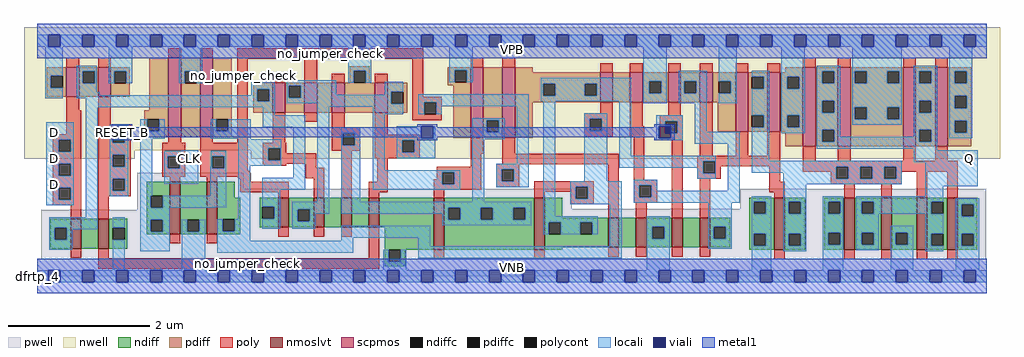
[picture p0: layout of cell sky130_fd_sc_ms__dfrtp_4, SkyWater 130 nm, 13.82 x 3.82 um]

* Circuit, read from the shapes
.subckt sky130_fd_sc_ms__dfrtp_4 CLK D RESET_B VGND VNB VPB VPWR Q
XM1 n1 D n2 VNB sky130_fd_pr__nfet_01v8_lvt w=0.42 l=0.15
XM2 VGND RESET_B n1 VNB sky130_fd_pr__nfet_01v8_lvt w=0.42 l=0.15
XM3 VGND CLK n3 VNB sky130_fd_pr__nfet_01v8_lvt w=0.74 l=0.15
XM4 n4 n3 VGND VNB sky130_fd_pr__nfet_01v8_lvt w=0.74 l=0.15
XM5 n5 n3 n2 VNB sky130_fd_pr__nfet_01v8_lvt w=0.42 l=0.15
XM6 n6 n4 n5 VNB sky130_fd_pr__nfet_01v8_lvt w=0.42 l=0.15
XM7 n7 n8 n6 VNB sky130_fd_pr__nfet_01v8_lvt w=0.42 l=0.15
XM8 VGND RESET_B n7 VNB sky130_fd_pr__nfet_01v8_lvt w=0.42 l=0.15
XM9 n8 n5 VGND VNB sky130_fd_pr__nfet_01v8_lvt w=0.74 l=0.15
XM10 n9 n4 n8 VNB sky130_fd_pr__nfet_01v8_lvt w=0.74 l=0.15
XM11 n10 n3 n9 VNB sky130_fd_pr__nfet_01v8_lvt w=0.42 l=0.15
XM12 VGND n11 n10 VNB sky130_fd_pr__nfet_01v8_lvt w=0.42 l=0.15
XM13 n12 RESET_B VGND VNB sky130_fd_pr__nfet_01v8_lvt w=0.42 l=0.15
XM14 n11 n9 n12 VNB sky130_fd_pr__nfet_01v8_lvt w=0.42 l=0.15
XM15 n13 n9 VGND VNB sky130_fd_pr__nfet_01v8_lvt w=0.74 l=0.15
XM16 Q n13 VGND VNB sky130_fd_pr__nfet_01v8_lvt w=0.74 l=0.15 m=4
XM17 n2 D VPWR VPB sky130_fd_pr__pfet_01v8 w=0.42 l=0.18
XM18 VPWR RESET_B n2 VPB sky130_fd_pr__pfet_01v8 w=0.42 l=0.18
XM19 VPWR CLK n3 VPB sky130_fd_pr__pfet_01v8 w=1.12 l=0.18
XM20 n4 n3 VPWR VPB sky130_fd_pr__pfet_01v8 w=1.12 l=0.18
XM21 n5 n4 n2 VPB sky130_fd_pr__pfet_01v8 w=0.42 l=0.18
XM22 n14 n3 n5 VPB sky130_fd_pr__pfet_01v8 w=0.42 l=0.18
XM23 VPWR n8 n14 VPB sky130_fd_pr__pfet_01v8 w=0.42 l=0.18
XM24 n5 RESET_B VPWR VPB sky130_fd_pr__pfet_01v8 w=0.42 l=0.18
XM25 n8 n5 VPWR VPB sky130_fd_pr__pfet_01v8 w=1 l=0.18
XM26 n9 n3 n8 VPB sky130_fd_pr__pfet_01v8 w=1 l=0.18
XM27 n15 n4 n9 VPB sky130_fd_pr__pfet_01v8 w=0.42 l=0.18
XM28 VPWR n11 n15 VPB sky130_fd_pr__pfet_01v8 w=0.42 l=0.18
XM29 n11 RESET_B VPWR VPB sky130_fd_pr__pfet_01v8 w=0.42 l=0.18
XM30 VPWR n9 n11 VPB sky130_fd_pr__pfet_01v8 w=0.42 l=0.18
XM31 n13 n9 VPWR VPB sky130_fd_pr__pfet_01v8 w=0.84 l=0.18 m=2
XM32 Q n13 VPWR VPB sky130_fd_pr__pfet_01v8 w=1.12 l=0.18 m=4
.ends

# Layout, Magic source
magic
tech sky130A
magscale 1 2
<< nwell >>
rect -38 356 2726 704
rect -38 332 275 356
rect 604 332 2726 356
<< pwell >>
rect 283 248 585 293
rect 283 191 1513 248
rect 1990 191 2687 248
rect 283 188 2687 191
rect 11 49 2687 188
rect 0 0 2688 49
<< scpmos >>
rect 82 508 118 592
rect 172 508 208 592
rect 371 395 407 619
rect 461 395 497 619
rect 666 463 702 547
rect 756 463 792 547
rect 834 463 870 547
rect 956 463 992 547
rect 1227 392 1263 592
rect 1317 392 1353 592
rect 1594 493 1630 577
rect 1678 493 1714 577
rect 1786 493 1822 577
rect 1876 493 1912 577
rect 1977 409 2013 577
rect 2067 409 2103 577
rect 2168 368 2204 592
rect 2267 368 2303 592
rect 2452 368 2488 592
rect 2542 368 2578 592
<< nmoslvt >>
rect 94 78 124 162
rect 172 78 202 162
rect 375 119 405 267
rect 479 119 509 267
rect 682 138 712 222
rect 782 138 812 222
rect 860 138 890 222
rect 938 138 968 222
rect 1122 74 1152 222
rect 1407 74 1437 222
rect 1617 81 1647 165
rect 1695 81 1725 165
rect 1797 81 1827 165
rect 1875 81 1905 165
rect 2087 74 2117 222
rect 2285 74 2315 222
rect 2390 74 2420 222
rect 2490 74 2520 222
rect 2576 74 2606 222
<< ndiff >>
rect 309 228 375 267
rect 309 194 321 228
rect 355 194 375 228
rect 37 137 94 162
rect 37 103 49 137
rect 83 103 94 137
rect 37 78 94 103
rect 124 78 172 162
rect 202 137 255 162
rect 202 103 213 137
rect 247 103 255 137
rect 309 160 375 194
rect 309 126 321 160
rect 355 126 375 160
rect 309 119 375 126
rect 405 160 479 267
rect 405 126 425 160
rect 459 126 479 160
rect 405 119 479 126
rect 509 222 559 267
rect 509 161 575 222
rect 509 127 525 161
rect 559 127 575 161
rect 629 197 682 222
rect 629 163 637 197
rect 671 163 682 197
rect 629 138 682 163
rect 712 189 782 222
rect 712 155 737 189
rect 771 155 782 189
rect 712 138 782 155
rect 812 138 860 222
rect 890 138 938 222
rect 968 138 1122 222
rect 509 119 575 127
rect 309 118 360 119
rect 202 78 255 103
rect 420 118 464 119
rect 983 74 1122 138
rect 1152 194 1407 222
rect 1152 160 1163 194
rect 1197 160 1255 194
rect 1289 160 1348 194
rect 1382 160 1407 194
rect 1152 74 1407 160
rect 1437 165 1487 222
rect 2016 210 2087 222
rect 2016 176 2028 210
rect 2062 176 2087 210
rect 1437 153 1617 165
rect 1437 119 1448 153
rect 1482 119 1537 153
rect 1571 119 1617 153
rect 1437 81 1617 119
rect 1647 81 1695 165
rect 1725 140 1797 165
rect 1725 106 1741 140
rect 1775 106 1797 140
rect 1725 81 1797 106
rect 1827 81 1875 165
rect 1905 140 1962 165
rect 1905 106 1916 140
rect 1950 106 1962 140
rect 1905 81 1962 106
rect 2016 120 2087 176
rect 2016 86 2028 120
rect 2062 86 2087 120
rect 1437 74 1487 81
rect 983 40 995 74
rect 1029 40 1041 74
rect 2016 74 2087 86
rect 2117 210 2174 222
rect 2117 176 2128 210
rect 2162 176 2174 210
rect 2117 120 2174 176
rect 2117 86 2128 120
rect 2162 86 2174 120
rect 2117 74 2174 86
rect 2228 210 2285 222
rect 2228 176 2240 210
rect 2274 176 2285 210
rect 2228 123 2285 176
rect 2228 89 2240 123
rect 2274 89 2285 123
rect 2228 74 2285 89
rect 2315 210 2390 222
rect 2315 176 2335 210
rect 2369 176 2390 210
rect 2315 123 2390 176
rect 2315 89 2335 123
rect 2369 89 2390 123
rect 2315 74 2390 89
rect 2420 123 2490 222
rect 2420 89 2431 123
rect 2465 89 2490 123
rect 2420 74 2490 89
rect 2520 210 2576 222
rect 2520 176 2531 210
rect 2565 176 2576 210
rect 2520 120 2576 176
rect 2520 86 2531 120
rect 2565 86 2576 120
rect 2520 74 2576 86
rect 2606 204 2661 222
rect 2606 170 2617 204
rect 2651 170 2661 204
rect 2606 120 2661 170
rect 2606 86 2617 120
rect 2651 86 2661 120
rect 2606 74 2661 86
rect 983 28 1041 40
<< pdiff >>
rect 27 567 82 592
rect 27 533 38 567
rect 72 533 82 567
rect 27 508 82 533
rect 118 580 172 592
rect 118 546 128 580
rect 162 546 172 580
rect 118 508 172 546
rect 208 580 262 592
rect 208 546 218 580
rect 252 546 262 580
rect 208 508 262 546
rect 316 470 371 619
rect 303 444 371 470
rect 303 410 311 444
rect 345 410 371 444
rect 303 395 371 410
rect 407 580 461 619
rect 407 546 417 580
rect 451 546 461 580
rect 407 395 461 546
rect 497 444 551 619
rect 497 410 507 444
rect 541 410 551 444
rect 497 395 551 410
rect 885 582 941 594
rect 885 548 896 582
rect 930 548 941 582
rect 885 547 941 548
rect 611 529 666 547
rect 611 495 622 529
rect 656 495 666 529
rect 611 463 666 495
rect 702 539 756 547
rect 702 505 712 539
rect 746 505 756 539
rect 702 463 756 505
rect 792 463 834 547
rect 870 463 956 547
rect 992 522 1047 547
rect 992 488 1002 522
rect 1036 488 1047 522
rect 992 463 1047 488
rect 1162 583 1227 592
rect 1162 549 1182 583
rect 1216 549 1227 583
rect 1162 540 1227 549
rect 1177 392 1227 540
rect 1263 442 1317 592
rect 1263 408 1273 442
rect 1307 408 1317 442
rect 1263 392 1317 408
rect 1353 577 1403 592
rect 2118 577 2168 592
rect 1353 545 1594 577
rect 1353 511 1432 545
rect 1466 511 1550 545
rect 1584 511 1594 545
rect 1353 493 1594 511
rect 1630 493 1678 577
rect 1714 552 1786 577
rect 1714 518 1732 552
rect 1766 518 1786 552
rect 1714 493 1786 518
rect 1822 552 1876 577
rect 1822 518 1832 552
rect 1866 518 1876 552
rect 1822 493 1876 518
rect 1912 552 1977 577
rect 1912 518 1930 552
rect 1964 518 1977 552
rect 1912 493 1977 518
rect 1353 392 1403 493
rect 1927 409 1977 493
rect 2013 565 2067 577
rect 2013 531 2023 565
rect 2057 531 2067 565
rect 2013 455 2067 531
rect 2013 421 2023 455
rect 2057 421 2067 455
rect 2013 409 2067 421
rect 2103 565 2168 577
rect 2103 531 2123 565
rect 2157 531 2168 565
rect 2103 455 2168 531
rect 2103 421 2123 455
rect 2157 421 2168 455
rect 2103 409 2168 421
rect 2118 368 2168 409
rect 2204 580 2267 592
rect 2204 546 2223 580
rect 2257 546 2267 580
rect 2204 497 2267 546
rect 2204 463 2223 497
rect 2257 463 2267 497
rect 2204 414 2267 463
rect 2204 380 2223 414
rect 2257 380 2267 414
rect 2204 368 2267 380
rect 2303 580 2452 592
rect 2303 546 2314 580
rect 2348 546 2407 580
rect 2441 546 2452 580
rect 2303 478 2452 546
rect 2303 444 2314 478
rect 2348 444 2407 478
rect 2441 444 2452 478
rect 2303 368 2452 444
rect 2488 580 2542 592
rect 2488 546 2498 580
rect 2532 546 2542 580
rect 2488 497 2542 546
rect 2488 463 2498 497
rect 2532 463 2542 497
rect 2488 414 2542 463
rect 2488 380 2498 414
rect 2532 380 2542 414
rect 2488 368 2542 380
rect 2578 580 2644 592
rect 2578 546 2598 580
rect 2632 546 2644 580
rect 2578 510 2644 546
rect 2578 476 2598 510
rect 2632 476 2644 510
rect 2578 440 2644 476
rect 2578 406 2598 440
rect 2632 406 2644 440
rect 2578 368 2644 406
<< ndiffc >>
rect 321 194 355 228
rect 49 103 83 137
rect 213 103 247 137
rect 321 126 355 160
rect 425 126 459 160
rect 525 127 559 161
rect 637 163 671 197
rect 737 155 771 189
rect 1163 160 1197 194
rect 1255 160 1289 194
rect 1348 160 1382 194
rect 2028 176 2062 210
rect 1448 119 1482 153
rect 1537 119 1571 153
rect 1741 106 1775 140
rect 1916 106 1950 140
rect 2028 86 2062 120
rect 995 40 1029 74
rect 2128 176 2162 210
rect 2128 86 2162 120
rect 2240 176 2274 210
rect 2240 89 2274 123
rect 2335 176 2369 210
rect 2335 89 2369 123
rect 2431 89 2465 123
rect 2531 176 2565 210
rect 2531 86 2565 120
rect 2617 170 2651 204
rect 2617 86 2651 120
<< pdiffc >>
rect 38 533 72 567
rect 128 546 162 580
rect 218 546 252 580
rect 311 410 345 444
rect 417 546 451 580
rect 507 410 541 444
rect 896 548 930 582
rect 622 495 656 529
rect 712 505 746 539
rect 1002 488 1036 522
rect 1182 549 1216 583
rect 1273 408 1307 442
rect 1432 511 1466 545
rect 1550 511 1584 545
rect 1732 518 1766 552
rect 1832 518 1866 552
rect 1930 518 1964 552
rect 2023 531 2057 565
rect 2023 421 2057 455
rect 2123 531 2157 565
rect 2123 421 2157 455
rect 2223 546 2257 580
rect 2223 463 2257 497
rect 2223 380 2257 414
rect 2314 546 2348 580
rect 2407 546 2441 580
rect 2314 444 2348 478
rect 2407 444 2441 478
rect 2498 546 2532 580
rect 2498 463 2532 497
rect 2498 380 2532 414
rect 2598 546 2632 580
rect 2598 476 2632 510
rect 2598 406 2632 440
<< poly >>
rect 371 619 407 645
rect 461 619 497 645
rect 82 592 118 618
rect 172 592 208 618
rect 82 470 118 508
rect 82 402 124 470
rect 44 386 124 402
rect 44 352 60 386
rect 94 352 124 386
rect 44 318 124 352
rect 44 284 60 318
rect 94 284 124 318
rect 44 250 124 284
rect 44 216 60 250
rect 94 216 124 250
rect 44 200 124 216
rect 94 162 124 200
rect 172 428 208 508
rect 172 412 264 428
rect 172 378 214 412
rect 248 378 264 412
rect 566 615 1092 645
rect 172 344 264 378
rect 371 377 407 395
rect 461 377 497 395
rect 566 377 596 615
rect 666 547 702 573
rect 756 547 792 615
rect 834 547 870 573
rect 956 547 992 573
rect 1062 508 1092 615
rect 1227 592 1263 618
rect 1317 592 1353 618
rect 1062 492 1145 508
rect 666 378 702 463
rect 756 437 792 463
rect 834 421 870 463
rect 834 405 914 421
rect 172 310 214 344
rect 248 310 264 344
rect 172 276 264 310
rect 353 339 419 377
rect 353 305 369 339
rect 403 305 419 339
rect 353 282 419 305
rect 461 339 596 377
rect 461 305 495 339
rect 529 305 596 339
rect 638 362 704 378
rect 638 328 654 362
rect 688 348 704 362
rect 834 371 864 405
rect 898 371 914 405
rect 834 355 914 371
rect 956 400 992 463
rect 1062 458 1095 492
rect 1129 458 1145 492
rect 1062 442 1145 458
rect 956 384 1083 400
rect 1594 577 1630 603
rect 1678 577 1714 603
rect 1786 577 1822 603
rect 1876 577 1912 603
rect 1977 577 2013 603
rect 2067 577 2103 603
rect 2168 592 2204 618
rect 2267 592 2303 618
rect 2452 592 2488 618
rect 2542 592 2578 618
rect 1594 461 1630 493
rect 1548 445 1630 461
rect 1548 411 1564 445
rect 1598 411 1630 445
rect 1548 395 1630 411
rect 1678 425 1714 493
rect 1786 455 1822 493
rect 1762 439 1828 455
rect 1678 395 1719 425
rect 688 328 790 348
rect 638 318 790 328
rect 638 317 704 318
rect 642 312 704 317
rect 461 299 596 305
rect 760 307 790 318
rect 461 292 600 299
rect 461 282 604 292
rect 172 242 214 276
rect 248 242 264 276
rect 375 267 405 282
rect 479 267 509 282
rect 568 279 604 282
rect 570 278 604 279
rect 571 276 604 278
rect 760 277 812 307
rect 574 267 604 276
rect 172 226 264 242
rect 172 162 202 226
rect 574 237 712 267
rect 682 222 712 237
rect 782 222 812 277
rect 860 222 890 355
rect 956 350 1033 384
rect 1067 350 1083 384
rect 956 334 1083 350
rect 1227 346 1263 392
rect 1317 347 1353 392
rect 962 267 992 334
rect 1227 310 1257 346
rect 1317 318 1647 347
rect 1131 294 1257 310
rect 1131 274 1147 294
rect 938 237 992 267
rect 1122 260 1147 274
rect 1181 260 1257 294
rect 1122 244 1257 260
rect 1299 317 1647 318
rect 1299 302 1365 317
rect 1299 268 1315 302
rect 1349 268 1365 302
rect 1299 252 1365 268
rect 1407 253 1575 269
rect 938 222 968 237
rect 1122 222 1152 244
rect 1407 239 1525 253
rect 1407 222 1437 239
rect 375 93 405 119
rect 479 93 509 119
rect 682 112 712 138
rect 782 112 812 138
rect 860 112 890 138
rect 94 52 124 78
rect 172 51 202 78
rect 938 51 968 138
rect 172 21 968 51
rect 1509 219 1525 239
rect 1559 219 1575 253
rect 1509 203 1575 219
rect 1617 165 1647 317
rect 1689 273 1719 395
rect 1762 405 1778 439
rect 1812 405 1828 439
rect 1762 389 1828 405
rect 1689 257 1755 273
rect 1689 223 1705 257
rect 1739 223 1755 257
rect 1689 207 1755 223
rect 1695 165 1725 207
rect 1797 165 1827 389
rect 1876 341 1912 493
rect 1977 341 2013 409
rect 2067 341 2103 409
rect 1869 325 2103 341
rect 1869 291 1885 325
rect 1919 311 2103 325
rect 1919 291 1935 311
rect 1869 275 1935 291
rect 1875 165 1905 275
rect 2073 267 2103 311
rect 2168 326 2204 368
rect 2267 326 2303 368
rect 2452 326 2488 368
rect 2542 326 2578 368
rect 2168 310 2606 326
rect 2168 296 2262 310
rect 2246 276 2262 296
rect 2296 276 2330 310
rect 2364 276 2398 310
rect 2432 296 2606 310
rect 2432 276 2448 296
rect 2073 237 2117 267
rect 2246 260 2448 276
rect 2087 222 2117 237
rect 2285 222 2315 260
rect 2390 222 2420 260
rect 2490 222 2520 296
rect 2576 222 2606 296
rect 1122 48 1152 74
rect 1407 48 1437 74
rect 1617 55 1647 81
rect 1695 55 1725 81
rect 1797 55 1827 81
rect 1875 55 1905 81
rect 2087 48 2117 74
rect 2285 48 2315 74
rect 2390 48 2420 74
rect 2490 48 2520 74
rect 2576 48 2606 74
<< polycont >>
rect 60 352 94 386
rect 60 284 94 318
rect 60 216 94 250
rect 214 378 248 412
rect 214 310 248 344
rect 369 305 403 339
rect 495 305 529 339
rect 654 328 688 362
rect 864 371 898 405
rect 1095 458 1129 492
rect 1564 411 1598 445
rect 214 242 248 276
rect 1033 350 1067 384
rect 1147 260 1181 294
rect 1315 268 1349 302
rect 1525 219 1559 253
rect 1778 405 1812 439
rect 1705 223 1739 257
rect 1885 291 1919 325
rect 2262 276 2296 310
rect 2330 276 2364 310
rect 2398 276 2432 310
<< locali >>
rect 0 649 31 683
rect 65 649 127 683
rect 161 649 223 683
rect 257 649 319 683
rect 353 649 415 683
rect 449 649 511 683
rect 545 649 607 683
rect 641 649 703 683
rect 737 649 799 683
rect 833 649 895 683
rect 929 649 991 683
rect 1025 649 1087 683
rect 1121 649 1183 683
rect 1217 649 1279 683
rect 1313 649 1375 683
rect 1409 649 1471 683
rect 1505 649 1567 683
rect 1601 649 1663 683
rect 1697 649 1759 683
rect 1793 649 1855 683
rect 1889 649 1951 683
rect 1985 649 2047 683
rect 2081 649 2143 683
rect 2177 649 2239 683
rect 2273 649 2335 683
rect 2369 649 2431 683
rect 2465 649 2527 683
rect 2561 649 2623 683
rect 2657 649 2688 683
rect 22 567 72 649
rect 22 533 38 567
rect 22 504 72 533
rect 112 580 168 596
rect 112 546 128 580
rect 162 546 168 580
rect 202 580 268 649
rect 202 546 218 580
rect 252 546 268 580
rect 401 580 467 649
rect 401 546 417 580
rect 451 546 467 580
rect 880 582 946 649
rect 112 521 168 546
rect 606 529 672 551
rect 112 512 177 521
rect 606 512 622 529
rect 112 504 622 512
rect 137 495 622 504
rect 656 495 672 529
rect 137 478 672 495
rect 706 539 846 555
rect 880 548 896 582
rect 930 548 946 582
rect 1166 583 1233 649
rect 706 505 712 539
rect 746 514 846 539
rect 983 522 1036 551
rect 1166 549 1182 583
rect 1216 549 1233 583
rect 983 514 1002 522
rect 746 505 1002 514
rect 706 489 1002 505
rect 25 386 103 436
rect 25 352 60 386
rect 94 352 103 386
rect 25 318 103 352
rect 25 284 60 318
rect 94 284 103 318
rect 25 250 103 284
rect 25 216 60 250
rect 94 216 103 250
rect 25 200 103 216
rect 137 166 171 478
rect 638 455 672 478
rect 793 488 1002 489
rect 1425 545 1682 561
rect 793 480 1036 488
rect 205 424 257 428
rect 205 412 223 424
rect 205 378 214 412
rect 248 378 257 390
rect 205 344 257 378
rect 205 310 214 344
rect 248 310 257 344
rect 205 276 257 310
rect 205 242 214 276
rect 248 242 257 276
rect 205 226 257 242
rect 291 410 311 444
rect 345 410 361 444
rect 291 389 361 410
rect 491 410 507 444
rect 541 410 604 444
rect 638 421 759 455
rect 491 389 604 410
rect 291 228 325 389
rect 569 387 604 389
rect 569 362 691 387
rect 409 355 455 356
rect 359 339 455 355
rect 359 305 369 339
rect 403 305 455 339
rect 491 339 535 355
rect 491 310 495 339
rect 359 262 455 305
rect 489 305 495 310
rect 529 305 535 339
rect 489 228 535 305
rect 291 194 321 228
rect 355 195 535 228
rect 569 328 654 362
rect 688 328 691 362
rect 569 312 691 328
rect 355 194 499 195
rect 33 137 171 166
rect 33 103 49 137
rect 83 132 171 137
rect 213 137 247 166
rect 83 103 99 132
rect 33 74 99 103
rect 213 17 247 103
rect 291 160 375 194
rect 569 161 603 312
rect 725 278 759 421
rect 291 126 321 160
rect 355 126 375 160
rect 291 70 375 126
rect 409 126 425 160
rect 459 126 475 160
rect 409 17 475 126
rect 509 127 525 161
rect 559 127 603 161
rect 637 244 759 278
rect 637 197 687 244
rect 793 210 827 480
rect 949 459 1036 480
rect 1079 492 1391 515
rect 1425 511 1432 545
rect 1466 511 1550 545
rect 1584 511 1682 545
rect 1425 495 1682 511
rect 671 163 687 197
rect 637 134 687 163
rect 721 189 827 210
rect 721 155 737 189
rect 771 176 827 189
rect 861 405 914 421
rect 861 371 864 405
rect 898 371 914 405
rect 861 210 914 371
rect 949 300 983 459
rect 1079 458 1095 492
rect 1129 481 1391 492
rect 1129 458 1145 481
rect 1231 442 1323 447
rect 1017 390 1087 424
rect 1121 390 1127 424
rect 1017 384 1127 390
rect 1017 350 1033 384
rect 1067 350 1127 384
rect 1017 334 1127 350
rect 1231 408 1273 442
rect 1307 408 1323 442
rect 1231 388 1323 408
rect 949 294 1197 300
rect 949 260 1147 294
rect 1181 260 1197 294
rect 949 244 1197 260
rect 1231 210 1265 388
rect 1357 318 1391 481
rect 1299 302 1391 318
rect 1299 268 1315 302
rect 1349 268 1391 302
rect 1299 252 1391 268
rect 861 194 1398 210
rect 861 176 1163 194
rect 771 155 787 176
rect 721 134 787 155
rect 1147 160 1163 176
rect 1197 160 1255 194
rect 1289 160 1348 194
rect 1382 160 1398 194
rect 1147 144 1398 160
rect 1432 169 1466 495
rect 1548 445 1614 461
rect 1548 411 1564 445
rect 1598 411 1614 445
rect 1548 269 1614 411
rect 1648 341 1682 495
rect 1716 552 1782 649
rect 1716 518 1732 552
rect 1766 518 1782 552
rect 1716 489 1782 518
rect 1816 552 1896 581
rect 1816 518 1832 552
rect 1866 518 1896 552
rect 1816 489 1896 518
rect 1930 552 1980 649
rect 1964 518 1980 552
rect 1930 489 1980 518
rect 2023 565 2073 581
rect 2057 531 2073 565
rect 1753 439 1828 455
rect 1753 424 1778 439
rect 1753 390 1759 424
rect 1812 405 1828 439
rect 1793 390 1828 405
rect 1753 384 1828 390
rect 1862 409 1896 489
rect 2023 455 2073 531
rect 2057 421 2073 455
rect 1862 375 1989 409
rect 1648 325 1921 341
rect 1648 307 1885 325
rect 1869 291 1885 307
rect 1919 291 1921 325
rect 1869 275 1921 291
rect 1509 253 1655 269
rect 1509 219 1525 253
rect 1559 219 1655 253
rect 1509 203 1655 219
rect 1689 257 1755 273
rect 1689 223 1705 257
rect 1739 241 1755 257
rect 1955 241 1989 375
rect 2023 326 2073 421
rect 2107 565 2173 649
rect 2107 531 2123 565
rect 2157 531 2173 565
rect 2107 455 2173 531
rect 2107 421 2123 455
rect 2157 421 2173 455
rect 2107 405 2173 421
rect 2207 580 2273 596
rect 2207 546 2223 580
rect 2257 546 2273 580
rect 2207 497 2273 546
rect 2207 463 2223 497
rect 2257 463 2273 497
rect 2207 414 2273 463
rect 2307 580 2448 649
rect 2307 546 2314 580
rect 2348 546 2407 580
rect 2441 546 2448 580
rect 2307 478 2448 546
rect 2307 444 2314 478
rect 2348 444 2407 478
rect 2441 444 2448 478
rect 2307 428 2448 444
rect 2482 580 2548 596
rect 2482 546 2498 580
rect 2532 546 2548 580
rect 2482 497 2548 546
rect 2482 463 2498 497
rect 2532 463 2548 497
rect 2207 380 2223 414
rect 2257 394 2273 414
rect 2482 414 2548 463
rect 2482 394 2498 414
rect 2257 380 2498 394
rect 2532 380 2548 414
rect 2582 580 2648 649
rect 2582 546 2598 580
rect 2632 546 2648 580
rect 2582 510 2648 546
rect 2582 476 2598 510
rect 2632 476 2648 510
rect 2582 440 2648 476
rect 2582 406 2598 440
rect 2632 406 2648 440
rect 2582 390 2648 406
rect 2207 360 2548 380
rect 2482 356 2548 360
rect 2023 310 2448 326
rect 2482 322 2663 356
rect 2023 292 2262 310
rect 1739 223 1989 241
rect 2112 276 2262 292
rect 2296 276 2330 310
rect 2364 276 2398 310
rect 2432 276 2448 310
rect 2112 260 2448 276
rect 1689 207 1989 223
rect 2023 210 2078 226
rect 1432 153 1587 169
rect 509 100 603 127
rect 861 108 1113 142
rect 1432 119 1448 153
rect 1482 119 1537 153
rect 1571 119 1587 153
rect 861 100 895 108
rect 509 66 895 100
rect 1079 85 1113 108
rect 1621 85 1655 203
rect 979 40 995 74
rect 1029 40 1045 74
rect 1079 51 1655 85
rect 1725 140 1791 169
rect 1725 106 1741 140
rect 1775 106 1791 140
rect 979 17 1045 40
rect 1725 17 1791 106
rect 1900 140 1966 207
rect 1900 106 1916 140
rect 1950 106 1966 140
rect 1900 77 1966 106
rect 2023 176 2028 210
rect 2062 176 2078 210
rect 2023 120 2078 176
rect 2023 86 2028 120
rect 2062 86 2078 120
rect 2023 17 2078 86
rect 2112 210 2178 260
rect 2515 254 2663 322
rect 2515 226 2565 254
rect 2112 176 2128 210
rect 2162 176 2178 210
rect 2112 120 2178 176
rect 2112 86 2128 120
rect 2162 86 2178 120
rect 2112 70 2178 86
rect 2224 210 2282 226
rect 2224 176 2240 210
rect 2274 176 2282 210
rect 2224 123 2282 176
rect 2224 89 2240 123
rect 2274 89 2282 123
rect 2224 17 2282 89
rect 2319 210 2565 226
rect 2319 176 2335 210
rect 2369 176 2531 210
rect 2319 123 2382 176
rect 2319 89 2335 123
rect 2369 89 2382 123
rect 2319 73 2382 89
rect 2416 123 2481 142
rect 2416 89 2431 123
rect 2465 89 2481 123
rect 2416 17 2481 89
rect 2515 120 2565 176
rect 2515 86 2531 120
rect 2515 70 2565 86
rect 2601 204 2667 220
rect 2601 170 2617 204
rect 2651 170 2667 204
rect 2601 120 2667 170
rect 2601 86 2617 120
rect 2651 86 2667 120
rect 2601 17 2667 86
rect 0 -17 31 17
rect 65 -17 127 17
rect 161 -17 223 17
rect 257 -17 319 17
rect 353 -17 415 17
rect 449 -17 511 17
rect 545 -17 607 17
rect 641 -17 703 17
rect 737 -17 799 17
rect 833 -17 895 17
rect 929 -17 991 17
rect 1025 -17 1087 17
rect 1121 -17 1183 17
rect 1217 -17 1279 17
rect 1313 -17 1375 17
rect 1409 -17 1471 17
rect 1505 -17 1567 17
rect 1601 -17 1663 17
rect 1697 -17 1759 17
rect 1793 -17 1855 17
rect 1889 -17 1951 17
rect 1985 -17 2047 17
rect 2081 -17 2143 17
rect 2177 -17 2239 17
rect 2273 -17 2335 17
rect 2369 -17 2431 17
rect 2465 -17 2527 17
rect 2561 -17 2623 17
rect 2657 -17 2688 17
<< viali >>
rect 31 649 65 683
rect 127 649 161 683
rect 223 649 257 683
rect 319 649 353 683
rect 415 649 449 683
rect 511 649 545 683
rect 607 649 641 683
rect 703 649 737 683
rect 799 649 833 683
rect 895 649 929 683
rect 991 649 1025 683
rect 1087 649 1121 683
rect 1183 649 1217 683
rect 1279 649 1313 683
rect 1375 649 1409 683
rect 1471 649 1505 683
rect 1567 649 1601 683
rect 1663 649 1697 683
rect 1759 649 1793 683
rect 1855 649 1889 683
rect 1951 649 1985 683
rect 2047 649 2081 683
rect 2143 649 2177 683
rect 2239 649 2273 683
rect 2335 649 2369 683
rect 2431 649 2465 683
rect 2527 649 2561 683
rect 2623 649 2657 683
rect 223 412 257 424
rect 223 390 248 412
rect 248 390 257 412
rect 1087 390 1121 424
rect 1759 405 1778 424
rect 1778 405 1793 424
rect 1759 390 1793 405
rect 31 -17 65 17
rect 127 -17 161 17
rect 223 -17 257 17
rect 319 -17 353 17
rect 415 -17 449 17
rect 511 -17 545 17
rect 607 -17 641 17
rect 703 -17 737 17
rect 799 -17 833 17
rect 895 -17 929 17
rect 991 -17 1025 17
rect 1087 -17 1121 17
rect 1183 -17 1217 17
rect 1279 -17 1313 17
rect 1375 -17 1409 17
rect 1471 -17 1505 17
rect 1567 -17 1601 17
rect 1663 -17 1697 17
rect 1759 -17 1793 17
rect 1855 -17 1889 17
rect 1951 -17 1985 17
rect 2047 -17 2081 17
rect 2143 -17 2177 17
rect 2239 -17 2273 17
rect 2335 -17 2369 17
rect 2431 -17 2465 17
rect 2527 -17 2561 17
rect 2623 -17 2657 17
<< metal1 >>
rect 0 683 2688 715
rect 0 649 31 683
rect 65 649 127 683
rect 161 649 223 683
rect 257 649 319 683
rect 353 649 415 683
rect 449 649 511 683
rect 545 649 607 683
rect 641 649 703 683
rect 737 649 799 683
rect 833 649 895 683
rect 929 649 991 683
rect 1025 649 1087 683
rect 1121 649 1183 683
rect 1217 649 1279 683
rect 1313 649 1375 683
rect 1409 649 1471 683
rect 1505 649 1567 683
rect 1601 649 1663 683
rect 1697 649 1759 683
rect 1793 649 1855 683
rect 1889 649 1951 683
rect 1985 649 2047 683
rect 2081 649 2143 683
rect 2177 649 2239 683
rect 2273 649 2335 683
rect 2369 649 2431 683
rect 2465 649 2527 683
rect 2561 649 2623 683
rect 2657 649 2688 683
rect 0 617 2688 649
rect 211 424 269 430
rect 211 390 223 424
rect 257 421 269 424
rect 1075 424 1133 430
rect 1075 421 1087 424
rect 257 393 1087 421
rect 257 390 269 393
rect 211 384 269 390
rect 1075 390 1087 393
rect 1121 421 1133 424
rect 1747 424 1805 430
rect 1747 421 1759 424
rect 1121 393 1759 421
rect 1121 390 1133 393
rect 1075 384 1133 390
rect 1747 390 1759 393
rect 1793 390 1805 424
rect 1747 384 1805 390
rect 0 17 2688 49
rect 0 -17 31 17
rect 65 -17 127 17
rect 161 -17 223 17
rect 257 -17 319 17
rect 353 -17 415 17
rect 449 -17 511 17
rect 545 -17 607 17
rect 641 -17 703 17
rect 737 -17 799 17
rect 833 -17 895 17
rect 929 -17 991 17
rect 1025 -17 1087 17
rect 1121 -17 1183 17
rect 1217 -17 1279 17
rect 1313 -17 1375 17
rect 1409 -17 1471 17
rect 1505 -17 1567 17
rect 1601 -17 1663 17
rect 1697 -17 1759 17
rect 1793 -17 1855 17
rect 1889 -17 1951 17
rect 1985 -17 2047 17
rect 2081 -17 2143 17
rect 2177 -17 2239 17
rect 2273 -17 2335 17
rect 2369 -17 2431 17
rect 2465 -17 2527 17
rect 2561 -17 2623 17
rect 2657 -17 2688 17
rect 0 -49 2688 -17
<< labels >>
flabel pwell s 0 0 2688 49 0 FreeSans 200 0 0 0 VNB
port 5 nsew ground bidirectional
flabel nwell s 0 617 2688 666 0 FreeSans 200 0 0 0 VPB
port 6 nsew power bidirectional
rlabel comment s 0 0 0 0 4 dfrtp_4
flabel comment s 830 630 830 630 0 FreeSans 300 0 0 0 no_jumper_check
flabel comment s 594 36 594 36 0 FreeSans 300 0 0 0 no_jumper_check
flabel comment s 583 567 583 567 0 FreeSans 200 0 0 0 no_jumper_check
flabel metal1 s 223 390 257 424 0 FreeSans 340 0 0 0 RESET_B
port 3 nsew signal input
flabel metal1 s 0 617 2688 666 0 FreeSans 340 0 0 0 VPWR
port 7 nsew power bidirectional
flabel metal1 s 0 0 2688 49 0 FreeSans 340 0 0 0 VGND
port 4 nsew ground bidirectional
flabel locali s 31 242 65 276 0 FreeSans 340 0 0 0 D
port 2 nsew signal input
flabel locali s 31 316 65 350 0 FreeSans 340 0 0 0 D
port 2 nsew signal input
flabel locali s 31 390 65 424 0 FreeSans 340 0 0 0 D
port 2 nsew signal input
flabel locali s 415 316 449 350 0 FreeSans 340 0 0 0 CLK
port 1 nsew clock input
flabel locali s 2623 316 2657 350 0 FreeSans 340 0 0 0 Q
port 8 nsew signal output
<< properties >>
string LEFsite unit
string LEFclass CORE
string FIXED_BBOX 0 0 2688 666
string GDS_FILE $PDKPATH/libs.ref/sky130_fd_sc_ms/gds/sky130_fd_sc_ms.gds
string LEFsymmetry X Y R90
string GDS_END 433602
string GDS_START 414692
<< end >>
